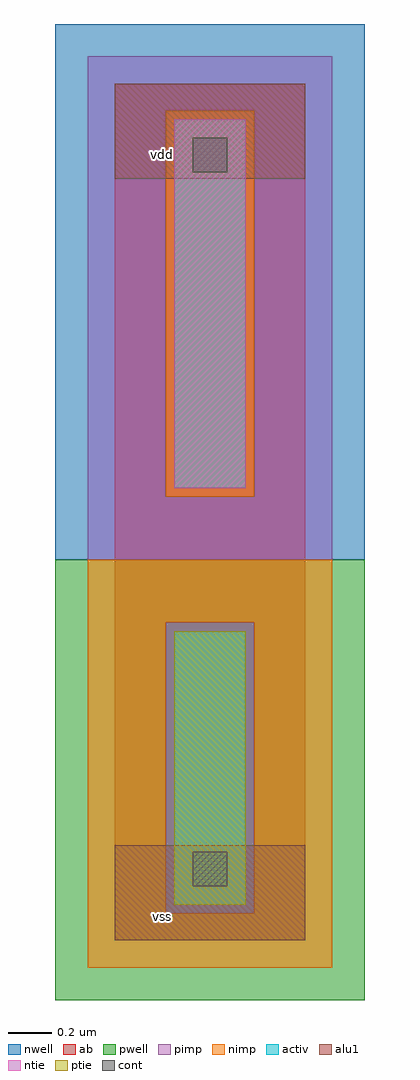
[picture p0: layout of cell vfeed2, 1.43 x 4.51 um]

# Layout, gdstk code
import gdstk
lib = gdstk.Library(unit=1e-6, precision=2.5e-09)
def R(c, l, rs):  # rectangles x0, y0, x1, y1
    for r in rs: c.add(gdstk.rectangle(r[:2], r[2:], *l))
ntie = (5, 0)
ptie = (6, 0)
cont = (25, 0)
pwell = (41, 0)
nwell = (42, 0)
activ = (43, 0)
pimp = (44, 0)
nimp = (45, 0)
alu1 = (49, 0)
ab = (63, 0)

vfeed2 = lib.new_cell('vfeed2')
R(vfeed2, ntie, [(0.275,2.09,0.605,3.795)])
R(vfeed2, ptie, [(0.275,0.165,0.605,1.43)])
R(vfeed2, cont, [(0.36,0.25,0.52,0.41), (0.36,3.55,0.52,3.71)])
R(vfeed2, pwell, [(-0.275,-0.275,1.155,1.76)])
R(vfeed2, nwell, [(-0.275,1.76,1.155,4.235)])
R(vfeed2, activ, [(0.275,0.165,0.605,1.43), (0.275,2.09,0.605,3.795)])
R(vfeed2, pimp, [(0.235,0.125,0.645,1.47), (-0.125,1.76,1.005,2.05), (-0.125,2.05,0.235,3.835), (0.645,2.05,1.005,3.835), (-0.125,3.835,1.005,4.085)])
R(vfeed2, nimp, [(-0.125,-0.125,1.005,0.125), (-0.125,0.125,0.235,1.47), (0.645,0.125,1.005,1.47), (-0.125,1.47,1.005,1.76), (0.235,2.05,0.645,3.835)])
R(vfeed2, alu1, [(0,0,0.88,0.44), (0,3.52,0.88,3.96)])
R(vfeed2, ab, [(0,0,0.88,3.96)])
vfeed2.add(gdstk.Label('vss', (0.22,0.11), layer=49, texttype=0))
vfeed2.add(gdstk.Label('vdd', (0.22,3.63), layer=49, texttype=0))

lib.write_gds('vfeed2.gds')
